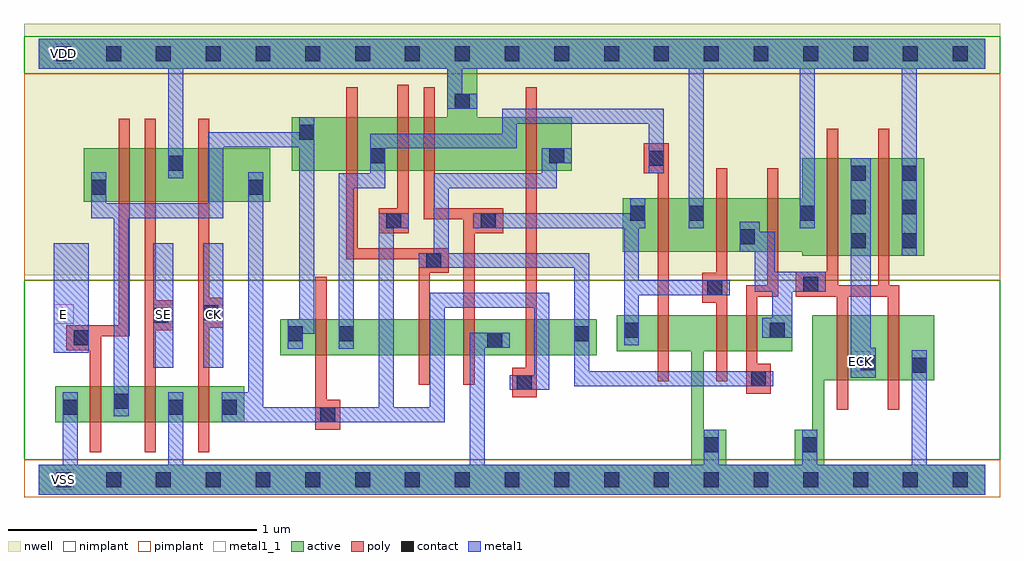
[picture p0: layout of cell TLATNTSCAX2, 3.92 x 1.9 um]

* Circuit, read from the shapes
.subckt TLATNTSCAX2 CK E ECK SE VDD VSS
M1 n1 E VSS VSS nfet w=0.145u l=0.045u
M2 VSS SE n1 VSS nfet w=0.145u l=0.045u
M3 n2 CK VSS VSS nfet w=0.145u l=0.045u
M4 n3 n2 n1 VSS nfet w=0.145u l=0.045u
M5 n4 n5 n3 VSS nfet w=0.145u l=0.045u
M6 VSS n6 n4 VSS nfet w=0.145u l=0.045u
M7 n5 n2 VSS VSS nfet w=0.145u l=0.045u
M8 VSS n3 n6 VSS nfet w=0.145u l=0.045u
M9 n7 n6 VSS VSS nfet w=0.145u l=0.045u
M10 n8 n5 n7 VSS nfet w=0.145u l=0.045u
M11 ECK n8 VSS VSS nfet w=0.26u l=0.045u m=2
M12 n9 E n1 VDD pfet w=0.215u l=0.045u
M13 VDD SE n9 VDD pfet w=0.215u l=0.045u
M14 n2 CK VDD VDD pfet w=0.215u l=0.045u
M15 n3 n5 n1 VDD pfet w=0.215u l=0.045u
M16 n10 n2 n3 VDD pfet w=0.215u l=0.045u
M17 VDD n6 n10 VDD pfet w=0.215u l=0.045u
M18 n5 n2 VDD VDD pfet w=0.215u l=0.045u
M19 VDD n3 n6 VDD pfet w=0.215u l=0.045u
M20 n8 n6 VDD VDD pfet w=0.215u l=0.045u
M21 VDD n5 n8 VDD pfet w=0.215u l=0.045u
M22 ECK n8 VDD VDD pfet w=0.39u l=0.045u m=2
.ends

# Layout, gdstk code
import gdstk
lib = gdstk.Library(unit=1e-6, precision=5e-10)
def R(c, l, rs):  # rectangles x0, y0, x1, y1
    for r in rs: c.add(gdstk.rectangle(r[:2], r[2:], *l))
def A(c, l, x, y, w, h, nx, ny, dx, dy):  # array of equal rectangles
    R(c, l, [(x+i*dx, y+j*dy, x+i*dx+w, y+j*dy+h) for i in range(nx) for j in range(ny)])
def P(c, l, *ps):  # polygons
    for p in ps: c.add(gdstk.Polygon(p, *l))
active = (1, 0)
nwell = (2, 0)
poly = (3, 0)
nimplant = (4, 0)
pimplant = (5, 0)
contact = (6, 0)
metal1 = (7, 0)
metal1_1 = (7, 1)

tlatntscax2 = lib.new_cell('TLATNTSCAX2')
R(tlatntscax2, active, [(0.065,0.23,0.825,0.375), (0.97,0.5,2.24,0.645), (0.18,1.115,0.93,1.33)])
P(tlatntscax2, active, [(0,1.77),(3.8,1.77),(3.8,1.65),(1.76,1.65),(1.76,1.455),(2.14,1.455),(2.14,1.24),(1.015,1.24),(1.015,1.455),(1.64,1.455),(1.64,1.65),(0,1.65)],
  [(3.065,1.29),(3.555,1.29),(3.555,0.9),(3.065,0.9),(3.065,0.915),(2.345,0.915),(2.345,1.13),(3.065,1.13)],
  [(2.32,0.66),(3.025,0.66),(3.025,0.515),(2.67,0.515),(2.67,0.2),(2.76,0.2),(2.76,0.06),(3.035,0.06),(3.035,0.2),(3.105,0.2),(3.105,0.66),(3.595,0.66),(3.595,0.4),(3.155,0.4),(3.155,0.06),(3.8,0.06),(3.8,-0.06),(0,-0.06),(0,0.06),(2.62,0.06),(2.62,0.515),(2.32,0.515)])
R(tlatntscax2, nwell, [(-0.06,0.82,3.86,1.83)])
P(tlatntscax2, poly, [(1.235,1.575),(1.28,1.575),(1.28,0.93),(1.645,0.93),(1.645,0.83),(1.57,0.83),(1.57,0.38),(1.525,0.38),(1.525,0.885),(1.235,0.885)],
  [(1.44,1.585),(1.485,1.585),(1.485,0.99),(1.365,0.99),(1.365,1.09),(1.44,1.09)],
  [(1.545,1.575),(1.59,1.575),(1.59,1.09),(1.865,1.09),(1.865,0.99),(1.75,0.99),(1.75,0.38),(1.705,0.38),(1.705,1.045),(1.545,1.045)],
  [(0.32,1.45),(0.365,1.45),(0.365,0.575),(0.25,0.575),(0.25,0.11),(0.205,0.11),(0.205,0.52),(0.11,0.52),(0.11,0.62),(0.32,0.62)],
  [(0.425,1.45),(0.47,1.45),(0.47,0.72),(0.54,0.72),(0.54,0.6),(0.47,0.6),(0.47,0.11),(0.425,0.11)],
  [(0.64,1.45),(0.685,1.45),(0.685,0.73),(0.74,0.73),(0.74,0.61),(0.685,0.61),(0.685,0.11),(0.64,0.11)],
  [(1.955,1.575),(2,1.575),(2,0.33),(1.9,0.33),(1.9,0.45),(1.955,0.45)],
  [(2.43,1.35),(2.53,1.35),(2.53,0.395),(2.485,0.395),(2.485,1.23),(2.43,1.23)],
  [(3.165,1.41),(3.21,1.41),(3.21,0.78),(3.37,0.78),(3.37,1.41),(3.415,1.41),(3.415,0.78),(3.455,0.78),(3.455,0.28),(3.41,0.28),(3.41,0.735),(3.25,0.735),(3.25,0.28),(3.205,0.28),(3.205,0.735),(3.04,0.735),(3.04,0.835),(3.165,0.835)],
  [(2.72,1.25),(2.765,1.25),(2.765,0.395),(2.72,0.395),(2.72,0.71),(2.665,0.71),(2.665,0.83),(2.72,0.83)],
  [(2.925,1.25),(2.97,1.25),(2.97,0.735),(2.885,0.735),(2.885,0.465),(2.94,0.465),(2.94,0.345),(2.84,0.345),(2.84,0.78),(2.925,0.78)],
  [(1.11,0.815),(1.155,0.815),(1.155,0.32),(1.21,0.32),(1.21,0.2),(1.11,0.2)])
R(tlatntscax2, nimplant, [(-0.06,0.08,3.86,0.8), (-0.06,1.63,3.86,1.78)])
R(tlatntscax2, pimplant, [(-0.06,-0.07,3.86,0.08), (-0.06,0.8,3.86,1.63)])
A(tlatntscax2, contact, 0.07, -0.03, 0.06, 0.06, 19, 2, 0.2, 1.71)
A(tlatntscax2, contact, 3.26, 0.93, 0.06, 0.06, 1, 3, 0, 0.135)
A(tlatntscax2, contact, 3.465, 0.93, 0.06, 0.06, 1, 3, 0, 0.135)
R(tlatntscax2, contact, [(2.67,0.11,2.73,0.17), (3.065,0.11,3.125,0.17), (1.13,0.23,1.19,0.29), (0.095,0.26,0.155,0.32), (0.52,0.26,0.58,0.32), (0.735,0.26,0.795,0.32), (0.3,0.285,0.36,0.345), (1.92,0.36,1.98,0.42), (2.86,0.375,2.92,0.435), (3.505,0.43,3.565,0.49), (3.3,0.44,3.36,0.5), (1.8,0.53,1.86,0.59), (0.14,0.54,0.2,0.6), (1,0.555,1.06,0.615), (1.205,0.555,1.265,0.615), (2.15,0.555,2.21,0.615), (2.35,0.57,2.41,0.63), (2.935,0.57,2.995,0.63), (0.46,0.63,0.52,0.69), (0.66,0.64,0.72,0.7), (2.685,0.74,2.745,0.8), (3.07,0.755,3.13,0.815), (1.555,0.85,1.615,0.91), (2.815,0.945,2.875,1.005), (1.395,1.01,1.455,1.07), (1.775,1.01,1.835,1.07), (2.375,1.04,2.435,1.1), (2.61,1.04,2.67,1.1), (3.055,1.04,3.115,1.1), (0.21,1.145,0.27,1.205), (0.84,1.145,0.9,1.205), (0.52,1.24,0.58,1.3), (2.45,1.26,2.51,1.32), (1.33,1.27,1.39,1.33), (2.05,1.27,2.11,1.33), (1.045,1.365,1.105,1.425), (1.67,1.49,1.73,1.55)])
R(tlatntscax2, metal1, [(0.46,0.45,0.54,0.95), (0.66,0.45,0.74,0.95), (0.06,0.51,0.2,0.95)])
P(tlatntscax2, metal1, [(0,1.77),(3.8,1.77),(3.8,1.65),(3.525,1.65),(3.525,0.9),(3.465,0.9),(3.465,1.65),(3.115,1.65),(3.115,1.01),(3.055,1.01),(3.055,1.65),(2.67,1.65),(2.67,1.01),(2.61,1.01),(2.61,1.65),(1.7,1.65),(1.7,1.55),(1.76,1.55),(1.76,1.49),(1.64,1.49),(1.64,1.65),(0.58,1.65),(0.58,1.21),(0.52,1.21),(0.52,1.65),(0,1.65)],
  [(1.86,1.49),(2.51,1.49),(2.51,1.23),(2.45,1.23),(2.45,1.43),(1.92,1.43),(1.92,1.33),(1.39,1.33),(1.39,1.17),(1.265,1.17),(1.265,0.525),(1.205,0.525),(1.205,1.23),(1.33,1.23),(1.33,1.39),(1.86,1.39)],
  [(1.045,1.455),(1.105,1.455),(1.105,0.585),(1.06,0.585),(1.06,0.525),(1,0.525),(1,0.645),(1.045,0.645),(1.045,1.335),(0.74,1.335),(0.74,1.05),(0.36,1.05),(0.36,0.255),(0.3,0.255),(0.3,1.05),(0.21,1.05),(0.21,1.235),(0.27,1.235),(0.27,1.11),(0.68,1.11),(0.68,1.395),(1.045,1.395)],
  [(0.84,1.235),(0.9,1.235),(0.9,0.29),(1.365,0.29),(1.365,1.07),(1.485,1.07),(1.485,1.01),(1.425,1.01),(1.425,0.29),(1.57,0.29),(1.57,0.75),(2.05,0.75),(2.05,0.36),(1.89,0.36),(1.89,0.42),(1.99,0.42),(1.99,0.69),(1.63,0.69),(1.63,0.23),(0.735,0.23),(0.735,0.35),(0.84,0.35)],
  [(1.73,0.59),(1.89,0.59),(1.89,0.53),(1.79,0.53),(1.79,0.06),(2.67,0.06),(2.67,0.2),(2.73,0.2),(2.73,0.06),(3.065,0.06),(3.065,0.2),(3.125,0.2),(3.125,0.06),(3.505,0.06),(3.505,0.52),(3.565,0.52),(3.565,0.06),(3.8,0.06),(3.8,-0.06),(0,-0.06),(0,0.06),(0.095,0.06),(0.095,0.35),(0.155,0.35),(0.155,0.06),(0.52,0.06),(0.52,0.35),(0.58,0.35),(0.58,0.06),(1.73,0.06)],
  [(2.02,1.33),(2.14,1.33),(2.14,1.27),(2.08,1.27),(2.08,1.17),(1.645,1.17),(1.645,0.91),(2.21,0.91),(2.21,0.435),(2.95,0.435),(2.95,0.375),(2.15,0.375),(2.15,0.85),(1.525,0.85),(1.525,0.91),(1.585,0.91),(1.585,1.23),(2.02,1.23)],
  [(2.375,1.13),(2.435,1.13),(2.435,1.01),(2.41,1.01),(2.41,0.8),(2.775,0.8),(2.775,0.74),(2.41,0.74),(2.41,0.54),(2.35,0.54),(2.35,1.01),(1.745,1.01),(1.745,1.07),(2.375,1.07)],
  [(2.815,1.035),(2.895,1.035),(2.895,0.995),(2.955,0.995),(2.955,0.835),(3.16,0.835),(3.16,0.755),(3.025,0.755),(3.025,0.57),(2.905,0.57),(2.905,0.65),(2.945,0.65),(2.945,0.755),(2.875,0.755),(2.875,0.915),(2.815,0.915)],
  [(3.26,1.29),(3.34,1.29),(3.34,0.53),(3.36,0.53),(3.36,0.41),(3.26,0.41)])
R(tlatntscax2, metal1_1, [(0.06,-0.04,0.14,0.04), (3.26,0.435,3.34,0.515), (0.06,0.625,0.14,0.705), (0.46,0.625,0.54,0.705), (0.66,0.625,0.74,0.705), (0.06,1.67,0.14,1.75)])
tlatntscax2.add(gdstk.Label('ECK', (3.3,0.475), layer=7, texttype=1))
tlatntscax2.add(gdstk.Label('CK', (0.7,0.665), layer=7, texttype=1))
tlatntscax2.add(gdstk.Label('SE', (0.5,0.665), layer=7, texttype=1))
tlatntscax2.add(gdstk.Label('E', (0.1,0.665), layer=7, texttype=1))
tlatntscax2.add(gdstk.Label('VDD', (0.1,1.71), layer=7, texttype=1))
tlatntscax2.add(gdstk.Label('VSS', (0.1,0), layer=7, texttype=1))
tlatntscax2.add(gdstk.Label('TLATNTSCAX2', (0,0), layer=63, texttype=0))

lib.write_gds('TLATNTSCAX2.gds')
